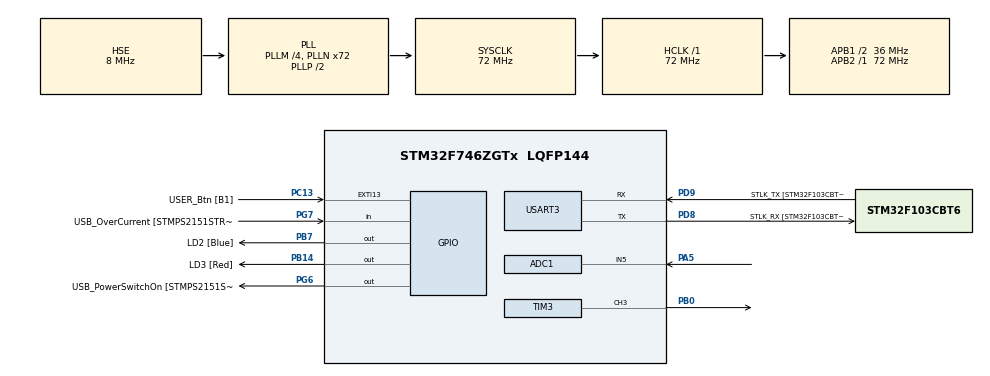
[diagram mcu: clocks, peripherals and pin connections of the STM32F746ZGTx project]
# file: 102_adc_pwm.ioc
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ADC1.Channel-1\#ChannelRegularConversion=ADC_CHANNEL_5
ADC1.DiscontinuousConvMode=ENABLE
ADC1.NbrOfConversionFlag=1
ADC1.Rank-1\#ChannelRegularConversion=1
ADC1.SamplingTime-1\#ChannelRegularConversion=ADC_SAMPLETIME_3CYCLES
ADC1.ScanConvMode=ADC_SCAN_ENABLE
ADC1.master=1
FREERTOS.INCLUDE_vTaskDelayUntil=1
FREERTOS.Queues01=msgPWM,5,uint16_t,0,Dynamic,NULL,NULL
FREERTOS.Tasks01=defaultTask,0,128,StartDefaultTask,Default,NULL,Dynamic,NULL,NULL;readADC,0,128,task_readADC,Default,NULL,Dynamic,NULL,NULL;setPWM,1,128,task_setPWM,Default,NULL,Dynamic,NULL,NULL
FREERTOS.configUSE_NEWLIB_REENTRANT=1
Mcu.Family=STM32F7
Mcu.Name=STM32F746ZGTx
Mcu.Package=LQFP144
NVIC.PriorityGroup=NVIC_PRIORITYGROUP_4
NVIC.TIM2_IRQn=true\:0\:0\:false\:false\:true\:false\:false\:true
NVIC.TimeBase=TIM2_IRQn
NVIC.TimeBaseIP=TIM2
PA1.GPIO_Label=RMII_REF_CLK [LAN8742A-CZ-TR_REFCLK0]
PA1.Signal=ETH_REF_CLK
PA10.GPIO_Label=USB_ID
PA10.Signal=USB_OTG_FS_ID
PA11.GPIO_Label=USB_DM
PA11.Signal=USB_OTG_FS_DM
PA12.GPIO_Label=USB_DP
PA12.Signal=USB_OTG_FS_DP
PA13.GPIO_Label=TMS
PA13.Mode=Serial_Wire
PA13.Signal=SYS_JTMS-SWDIO
PA14.GPIO_Label=TCK
PA14.Mode=Serial_Wire
PA14.Signal=SYS_JTCK-SWCLK
PA2.GPIO_Label=RMII_MDIO [LAN8742A-CZ-TR_MDIO]
PA2.Signal=ETH_MDIO
PA5.Signal=ADCx_IN5
PA7.GPIO_Label=RMII_CRS_DV [LAN8742A-CZ-TR_CRS_DV]
PA7.Signal=ETH_CRS_DV
PA8.GPIO_Label=USB_SOF [TP1]
PA8.Signal=USB_OTG_FS_SOF
PA9.GPIO_Label=USB_VBUS
PA9.Signal=USB_OTG_FS_VBUS
PB0.Signal=S_TIM3_CH3
PB13.GPIO_Label=RMII_TXD1 [LAN8742A-CZ-TR_TXD1]
PB13.Signal=ETH_TXD1
PB14.GPIO_Label=LD3 [Red]
PB14.Signal=GPIO_Output
PB3.GPIO_Label=SW0
PB3.Signal=SYS_JTDO-SWO
PB7.GPIO_Label=LD2 [Blue]
PB7.Signal=GPIO_Output
PC1.GPIO_Label=RMII_MDC [LAN8742A-CZ-TR_MDC]
PC1.Signal=ETH_MDC
PC13.GPIO_Label=USER_Btn [B1]
PC13.Signal=GPXTI13
PC14/OSC32_IN.Mode=LSE-External-Oscillator
PC14/OSC32_IN.Signal=RCC_OSC32_IN
PC15/OSC32_OUT.Mode=LSE-External-Oscillator
PC15/OSC32_OUT.Signal=RCC_OSC32_OUT
PC4.GPIO_Label=RMII_RXD0 [LAN8742A-CZ-TR_RXD0]
PC4.Signal=ETH_RXD0
PC5.GPIO_Label=RMII_RXD1 [LAN8742A-CZ-TR_RXD1]
PC5.Signal=ETH_RXD1
PD8.GPIO_Label=STLK_RX [STM32F103CBT6_PA3]
PD8.Mode=Asynchronous
PD8.Signal=USART3_TX
PD9.GPIO_Label=STLK_TX [STM32F103CBT6_PA2]
PD9.Mode=Asynchronous
PD9.Signal=USART3_RX
PG11.GPIO_Label=RMII_TX_EN [LAN8742A-CZ-TR_TXEN]
PG11.Signal=ETH_TX_EN
PG13.GPIO_Label=RMII_TXD0 [LAN8742A-CZ-TR_TXD0]
PG13.Signal=ETH_TXD0
PG6.GPIO_Label=USB_PowerSwitchOn [STMPS2151STR_EN]
PG6.Signal=GPIO_Output
PG7.GPIO_Label=USB_OverCurrent [STMPS2151STR_FAULT]
PG7.Signal=GPIO_Input
PH0/OSC_IN.GPIO_Label=MCO [STM32F103CBT6_PA8]
PH0/OSC_IN.Mode=HSE-External-Clock-Source
PH0/OSC_IN.Signal=RCC_OSC_IN
PH1/OSC_OUT.Mode=HSE-External-Clock-Source
PH1/OSC_OUT.Signal=RCC_OSC_OUT
ProjectManager.HeapSize=0x200
ProjectManager.StackSize=0x400
ProjectManager.TargetToolchain=STM32CubeIDE
RCC.48MHZClocksFreq_Value=24000000
RCC.AHBFreq_Value=72000000
RCC.APB1CLKDivider=RCC_HCLK_DIV2
RCC.APB1Freq_Value=36000000
RCC.APB1TimFreq_Value=72000000
RCC.APB2Freq_Value=72000000
RCC.APB2TimFreq_Value=72000000
RCC.CortexFreq_Value=72000000
RCC.HCLKFreq_Value=72000000
RCC.HSE_VALUE=8000000
RCC.HSI_VALUE=16000000
RCC.PLLM=4
RCC.PLLMUL=RCC_PLL_MUL9
RCC.PLLN=72
RCC.PLLQ=3
RCC.PLLSourceVirtual=RCC_PLLSOURCE_HSE
RCC.PRESCALERUSB=RCC_USBCLKSOURCE_PLL_DIV1_5
RCC.SYSCLKFreq_VALUE=72000000
RCC.SYSCLKSource=RCC_SYSCLKSOURCE_PLLCLK
RCC.SYSCLKSourceVirtual=RCC_SYSCLKSOURCE_PLLCLK
RCC.USBFreq_Value=48000000
RCC.VCOOutputFreq_Value=144000000
SH.ADCx_IN5.0=ADC1_IN5,IN5
SH.S_TIM3_CH3.0=TIM3_CH3,PWM Generation3 CH3
TIM3.Channel-PWM\ Generation3\ CH3=TIM_CHANNEL_3
TIM3.Period=1999
TIM3.Prescaler=71
USART3.VirtualMode-Asynchronous=VM_ASYNC
VP_FREERTOS_VS_CMSIS_V1.Mode=CMSIS_V1
VP_SYS_VS_tim2.Mode=TIM2
VP_TIM3_VS_ClockSourceINT.Mode=Internal
board=NUCLEO-F746ZG

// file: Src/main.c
/* USER CODE BEGIN Header */
/**
  ******************************************************************************
  * @file           : main.c
  * @brief          : Main program body
  ******************************************************************************
  * @attention
  *
  * <h2><center>&copy; Copyright (c) 2020 STMicroelectronics.
  * All rights reserved.</center></h2>
  *
  * This software component is licensed by ST under Ultimate Liberty license
  * SLA0044, the "License"; You may not use this file except in compliance with
  * the License. You may obtain a copy of the License at:
  *                             www.st.com/SLA0044
  *
  ******************************************************************************
  */
/* USER CODE END Header */
#include "main.h"
#include "cmsis_os.h"

ADC_HandleTypeDef hadc1;

TIM_HandleTypeDef htim3;

UART_HandleTypeDef huart3;

osThreadId defaultTaskHandle;
osThreadId readADCHandle;
osThreadId setPWMHandle;
osMessageQId msgPWMHandle;

void SystemClock_Config(void);
static void MX_GPIO_Init(void);
static void MX_USART3_UART_Init(void);
static void MX_ADC1_Init(void);
static void MX_TIM3_Init(void);
void StartDefaultTask(void const * argument);
void task_readADC(void const * argument);
void task_setPWM(void const * argument);

int main(void)
{

  /* MCU Configuration--------------------------------------------------------*/

  /* Reset of all peripherals, Initializes the Flash interface and the Systick. */
  HAL_Init();

  /* Configure the system clock */
  SystemClock_Config();

  /* Initialize all configured peripherals */
  MX_GPIO_Init();
  MX_USART3_UART_Init();
  MX_ADC1_Init();
  MX_TIM3_Init();
  /* USER CODE BEGIN 2 */
  HAL_TIM_PWM_Start(&htim3, TIM_CHANNEL_3);
  TIM3->CCR3 = 0; // range: 0 to 2000
  /* USER CODE END 2 */

  /* Create the queue(s) */
  /* definition and creation of msgPWM */
  osMessageQDef(msgPWM, 5, uint16_t);
  msgPWMHandle = osMessageCreate(osMessageQ(msgPWM), NULL);

  /* Create the thread(s) */
  /* definition and creation of defaultTask */
  osThreadDef(defaultTask, StartDefaultTask, osPriorityNormal, 0, 128);
  defaultTaskHandle = osThreadCreate(osThread(defaultTask), NULL);

  /* definition and creation of readADC */
  osThreadDef(readADC, task_readADC, osPriorityNormal, 0, 128);
  readADCHandle = osThreadCreate(osThread(readADC), NULL);

  /* definition and creation of setPWM */
  osThreadDef(setPWM, task_setPWM, osPriorityAboveNormal, 0, 128);
  setPWMHandle = osThreadCreate(osThread(setPWM), NULL);

  /* Start scheduler */
  osKernelStart();

  /* We should never get here as control is now taken by the scheduler */
  /* Infinite loop */
  while (1)
  {

  }
}

void SystemClock_Config(void)
{
  RCC_OscInitTypeDef RCC_OscInitStruct = {0};
  RCC_ClkInitTypeDef RCC_ClkInitStruct = {0};

  /** Configure LSE Drive Capability
  */
  HAL_PWR_EnableBkUpAccess();
  /** Configure the main internal regulator output voltage
  */
  __HAL_RCC_PWR_CLK_ENABLE();
  __HAL_PWR_VOLTAGESCALING_CONFIG(PWR_REGULATOR_VOLTAGE_SCALE3);
  /** Initializes the RCC Oscillators according to the specified parameters
  * in the RCC_OscInitTypeDef structure.
  */
  RCC_OscInitStruct.OscillatorType = RCC_OSCILLATORTYPE_HSE;
  RCC_OscInitStruct.HSEState = RCC_HSE_BYPASS;
  RCC_OscInitStruct.PLL.PLLState = RCC_PLL_ON;
  RCC_OscInitStruct.PLL.PLLSource = RCC_PLLSOURCE_HSE;
  RCC_OscInitStruct.PLL.PLLM = 4;
  RCC_OscInitStruct.PLL.PLLN = 72;
  RCC_OscInitStruct.PLL.PLLP = RCC_PLLP_DIV2;
  RCC_OscInitStruct.PLL.PLLQ = 3;
  if (HAL_RCC_OscConfig(&RCC_OscInitStruct) != HAL_OK)
  {
    Error_Handler();
  }
  /** Initializes the CPU, AHB and APB buses clocks
  */
  RCC_ClkInitStruct.ClockType = RCC_CLOCKTYPE_HCLK|RCC_CLOCKTYPE_SYSCLK
                              |RCC_CLOCKTYPE_PCLK1|RCC_CLOCKTYPE_PCLK2;
  RCC_ClkInitStruct.SYSCLKSource = RCC_SYSCLKSOURCE_PLLCLK;
  RCC_ClkInitStruct.AHBCLKDivider = RCC_SYSCLK_DIV1;
  RCC_ClkInitStruct.APB1CLKDivider = RCC_HCLK_DIV2;
  RCC_ClkInitStruct.APB2CLKDivider = RCC_HCLK_DIV1;

  if (HAL_RCC_ClockConfig(&RCC_ClkInitStruct, FLASH_LATENCY_2) != HAL_OK)
  {
    Error_Handler();
  }
}

static void MX_ADC1_Init(void)
{

  ADC_ChannelConfTypeDef sConfig = {0};

  /** Configure the global features of the ADC (Clock, Resolution, Data Alignment and number of conversion)
  */
  hadc1.Instance = ADC1;
  hadc1.Init.ClockPrescaler = ADC_CLOCK_SYNC_PCLK_DIV2;
  hadc1.Init.Resolution = ADC_RESOLUTION_12B;
  hadc1.Init.ScanConvMode = ADC_SCAN_ENABLE;
  hadc1.Init.ContinuousConvMode = DISABLE;
  hadc1.Init.DiscontinuousConvMode = ENABLE;
  hadc1.Init.NbrOfDiscConversion = 1;
  hadc1.Init.ExternalTrigConvEdge = ADC_EXTERNALTRIGCONVEDGE_NONE;
  hadc1.Init.ExternalTrigConv = ADC_SOFTWARE_START;
  hadc1.Init.DataAlign = ADC_DATAALIGN_RIGHT;
  hadc1.Init.NbrOfConversion = 1;
  hadc1.Init.DMAContinuousRequests = DISABLE;
  hadc1.Init.EOCSelection = ADC_EOC_SINGLE_CONV;
  if (HAL_ADC_Init(&hadc1) != HAL_OK)
  {
    Error_Handler();
  }
  /** Configure for the selected ADC regular channel its corresponding rank in the sequencer and its sample time.
  */
  sConfig.Channel = ADC_CHANNEL_5;
  sConfig.Rank = ADC_REGULAR_RANK_1;
  sConfig.SamplingTime = ADC_SAMPLETIME_3CYCLES;
  if (HAL_ADC_ConfigChannel(&hadc1, &sConfig) != HAL_OK)
  {
    Error_Handler();
  }

}

static void MX_TIM3_Init(void)
{

  TIM_ClockConfigTypeDef sClockSourceConfig = {0};
  TIM_MasterConfigTypeDef sMasterConfig = {0};
  TIM_OC_InitTypeDef sConfigOC = {0};

  htim3.Instance = TIM3;
  htim3.Init.Prescaler = 71;
  htim3.Init.CounterMode = TIM_COUNTERMODE_UP;
  htim3.Init.Period = 1999;
  htim3.Init.ClockDivision = TIM_CLOCKDIVISION_DIV1;
  htim3.Init.AutoReloadPreload = TIM_AUTORELOAD_PRELOAD_DISABLE;
  if (HAL_TIM_Base_Init(&htim3) != HAL_OK)
  {
    Error_Handler();
  }
  sClockSourceConfig.ClockSource = TIM_CLOCKSOURCE_INTERNAL;
  if (HAL_TIM_ConfigClockSource(&htim3, &sClockSourceConfig) != HAL_OK)
  {
    Error_Handler();
  }
  if (HAL_TIM_PWM_Init(&htim3) != HAL_OK)
  {
    Error_Handler();
  }
  sMasterConfig.MasterOutputTrigger = TIM_TRGO_RESET;
  sMasterConfig.MasterSlaveMode = TIM_MASTERSLAVEMODE_DISABLE;
  if (HAL_TIMEx_MasterConfigSynchronization(&htim3, &sMasterConfig) != HAL_OK)
  {
    Error_Handler();
  }
  sConfigOC.OCMode = TIM_OCMODE_PWM1;
  sConfigOC.Pulse = 0;
  sConfigOC.OCPolarity = TIM_OCPOLARITY_HIGH;
  sConfigOC.OCFastMode = TIM_OCFAST_DISABLE;
  if (HAL_TIM_PWM_ConfigChannel(&htim3, &sConfigOC, TIM_CHANNEL_3) != HAL_OK)
  {
    Error_Handler();
  }
  HAL_TIM_MspPostInit(&htim3);

}

static void MX_USART3_UART_Init(void)
{

  huart3.Instance = USART3;
  huart3.Init.BaudRate = 115200;
  huart3.Init.WordLength = UART_WORDLENGTH_8B;
  huart3.Init.StopBits = UART_STOPBITS_1;
  huart3.Init.Parity = UART_PARITY_NONE;
  huart3.Init.Mode = UART_MODE_TX_RX;
  huart3.Init.HwFlowCtl = UART_HWCONTROL_NONE;
  huart3.Init.OverSampling = UART_OVERSAMPLING_16;
  huart3.Init.OneBitSampling = UART_ONE_BIT_SAMPLE_DISABLE;
  huart3.AdvancedInit.AdvFeatureInit = UART_ADVFEATURE_NO_INIT;
  if (HAL_UART_Init(&huart3) != HAL_OK)
  {
    Error_Handler();
  }

}

static void MX_GPIO_Init(void)
{
  GPIO_InitTypeDef GPIO_InitStruct = {0};

  /* GPIO Ports Clock Enable */
  __HAL_RCC_GPIOC_CLK_ENABLE();
  __HAL_RCC_GPIOH_CLK_ENABLE();
  __HAL_RCC_GPIOA_CLK_ENABLE();
  __HAL_RCC_GPIOB_CLK_ENABLE();
  __HAL_RCC_GPIOD_CLK_ENABLE();
  __HAL_RCC_GPIOG_CLK_ENABLE();

  /*Configure GPIO pin Output Level */
  HAL_GPIO_WritePin(GPIOB, LD3_Pin|LD2_Pin, GPIO_PIN_RESET);

  /*Configure GPIO pin Output Level */
  HAL_GPIO_WritePin(USB_PowerSwitchOn_GPIO_Port, USB_PowerSwitchOn_Pin, GPIO_PIN_RESET);

  /*Configure GPIO pin : USER_Btn_Pin */
  GPIO_InitStruct.Pin = USER_Btn_Pin;
  GPIO_InitStruct.Mode = GPIO_MODE_IT_RISING;
  GPIO_InitStruct.Pull = GPIO_NOPULL;
  HAL_GPIO_Init(USER_Btn_GPIO_Port, &GPIO_InitStruct);

  /*Configure GPIO pins : RMII_MDC_Pin RMII_RXD0_Pin RMII_RXD1_Pin */
  GPIO_InitStruct.Pin = RMII_MDC_Pin|RMII_RXD0_Pin|RMII_RXD1_Pin;
  GPIO_InitStruct.Mode = GPIO_MODE_AF_PP;
  GPIO_InitStruct.Pull = GPIO_NOPULL;
  GPIO_InitStruct.Speed = GPIO_SPEED_FREQ_VERY_HIGH;
  GPIO_InitStruct.Alternate = GPIO_AF11_ETH;
  HAL_GPIO_Init(GPIOC, &GPIO_InitStruct);

  /*Configure GPIO pins : RMII_REF_CLK_Pin RMII_MDIO_Pin RMII_CRS_DV_Pin */
  GPIO_InitStruct.Pin = RMII_REF_CLK_Pin|RMII_MDIO_Pin|RMII_CRS_DV_Pin;
  GPIO_InitStruct.Mode = GPIO_MODE_AF_PP;
  GPIO_InitStruct.Pull = GPIO_NOPULL;
  GPIO_InitStruct.Speed = GPIO_SPEED_FREQ_VERY_HIGH;
  GPIO_InitStruct.Alternate = GPIO_AF11_ETH;
  HAL_GPIO_Init(GPIOA, &GPIO_InitStruct);

  /*Configure GPIO pin : RMII_TXD1_Pin */
  GPIO_InitStruct.Pin = RMII_TXD1_Pin;
  GPIO_InitStruct.Mode = GPIO_MODE_AF_PP;
  GPIO_InitStruct.Pull = GPIO_NOPULL;
  GPIO_InitStruct.Speed = GPIO_SPEED_FREQ_VERY_HIGH;
  GPIO_InitStruct.Alternate = GPIO_AF11_ETH;
  HAL_GPIO_Init(RMII_TXD1_GPIO_Port, &GPIO_InitStruct);

  /*Configure GPIO pins : LD3_Pin LD2_Pin */
  GPIO_InitStruct.Pin = LD3_Pin|LD2_Pin;
  GPIO_InitStruct.Mode = GPIO_MODE_OUTPUT_PP;
  GPIO_InitStruct.Pull = GPIO_NOPULL;
  GPIO_InitStruct.Speed = GPIO_SPEED_FREQ_LOW;
  HAL_GPIO_Init(GPIOB, &GPIO_InitStruct);

  /*Configure GPIO pin : USB_PowerSwitchOn_Pin */
  GPIO_InitStruct.Pin = USB_PowerSwitchOn_Pin;
  GPIO_InitStruct.Mode = GPIO_MODE_OUTPUT_PP;
  GPIO_InitStruct.Pull = GPIO_NOPULL;
  GPIO_InitStruct.Speed = GPIO_SPEED_FREQ_LOW;
  HAL_GPIO_Init(USB_PowerSwitchOn_GPIO_Port, &GPIO_InitStruct);

  /*Configure GPIO pin : USB_OverCurrent_Pin */
  GPIO_InitStruct.Pin = USB_OverCurrent_Pin;
  GPIO_InitStruct.Mode = GPIO_MODE_INPUT;
  GPIO_InitStruct.Pull = GPIO_NOPULL;
  HAL_GPIO_Init(USB_OverCurrent_GPIO_Port, &GPIO_InitStruct);

  /*Configure GPIO pins : USB_SOF_Pin USB_ID_Pin USB_DM_Pin USB_DP_Pin */
  GPIO_InitStruct.Pin = USB_SOF_Pin|USB_ID_Pin|USB_DM_Pin|USB_DP_Pin;
  GPIO_InitStruct.Mode = GPIO_MODE_AF_PP;
  GPIO_InitStruct.Pull = GPIO_NOPULL;
  GPIO_InitStruct.Speed = GPIO_SPEED_FREQ_VERY_HIGH;
  GPIO_InitStruct.Alternate = GPIO_AF10_OTG_FS;
  HAL_GPIO_Init(GPIOA, &GPIO_InitStruct);

  /*Configure GPIO pin : USB_VBUS_Pin */
  GPIO_InitStruct.Pin = USB_VBUS_Pin;
  GPIO_InitStruct.Mode = GPIO_MODE_INPUT;
  GPIO_InitStruct.Pull = GPIO_NOPULL;
  HAL_GPIO_Init(USB_VBUS_GPIO_Port, &GPIO_InitStruct);

  /*Configure GPIO pins : RMII_TX_EN_Pin RMII_TXD0_Pin */
  GPIO_InitStruct.Pin = RMII_TX_EN_Pin|RMII_TXD0_Pin;
  GPIO_InitStruct.Mode = GPIO_MODE_AF_PP;
  GPIO_InitStruct.Pull = GPIO_NOPULL;
  GPIO_InitStruct.Speed = GPIO_SPEED_FREQ_VERY_HIGH;
  GPIO_InitStruct.Alternate = GPIO_AF11_ETH;
  HAL_GPIO_Init(GPIOG, &GPIO_InitStruct);

}

void StartDefaultTask(void const * argument)
{
  /* USER CODE BEGIN 5 */
  /* Infinite loop */
  for(;;)
  {
    // Keep alive indicator
    HAL_GPIO_TogglePin(GPIOB, GPIO_PIN_7);
    osDelay(500); // or use vTaskDelay( 500 / portTICK_PERIOD_MS );
  }
  /* USER CODE END 5 */
}

void task_readADC(void const * argument)
{
  /* USER CODE BEGIN task_readADC */
  TickType_t xLastWakeTime = xTaskGetTickCount();
  /* Infinite loop */
  for(;;)
  {
    HAL_ADC_Start(&hadc1);
    HAL_ADC_PollForConversion(&hadc1, 1);
    uint32_t raw_result5 = HAL_ADC_GetValue(&hadc1);
    uint16_t message = (raw_result5 * 1000U) / 4095U; // data type identical in size to those in queue setup
    /* BaseType_t status = */ xQueueSend(msgPWMHandle, &message, 2 / portTICK_PERIOD_MS );
    // Note: we can check the status if desired and report an error, e.g., blink the RED LED if the buffer is full
    // and do it every 10 OS ticks as set up
    vTaskDelayUntil( &xLastWakeTime, 10 ); // Note: feature vTaskDelayUntil needs to be enabled in FreeRTOSconfig (see STM32CubeMX settings)
  }
  /* USER CODE END task_readADC */
}

void task_setPWM(void const * argument)
{
  /* USER CODE BEGIN task_setPWM */
  /* Infinite loop */
  for(;;)
  {
    uint16_t message; // data type identical in size to those in queue setup
    BaseType_t status = xQueueReceive(msgPWMHandle, &message, 10000 / portTICK_PERIOD_MS );
    if (status ) {
      if (message<=1000U) {
          TIM3->CCR3 = message;
      }
    } else {
        // let's shut down PWM if no update in 10,000 milliseconds
        TIM3->CCR3 = 0;
    }
  }
  /* USER CODE END task_setPWM */
}

void HAL_TIM_PeriodElapsedCallback(TIM_HandleTypeDef *htim)
{
  if (htim->Instance == TIM2) {
    HAL_IncTick();
  }
}

void Error_Handler(void)
{
}
